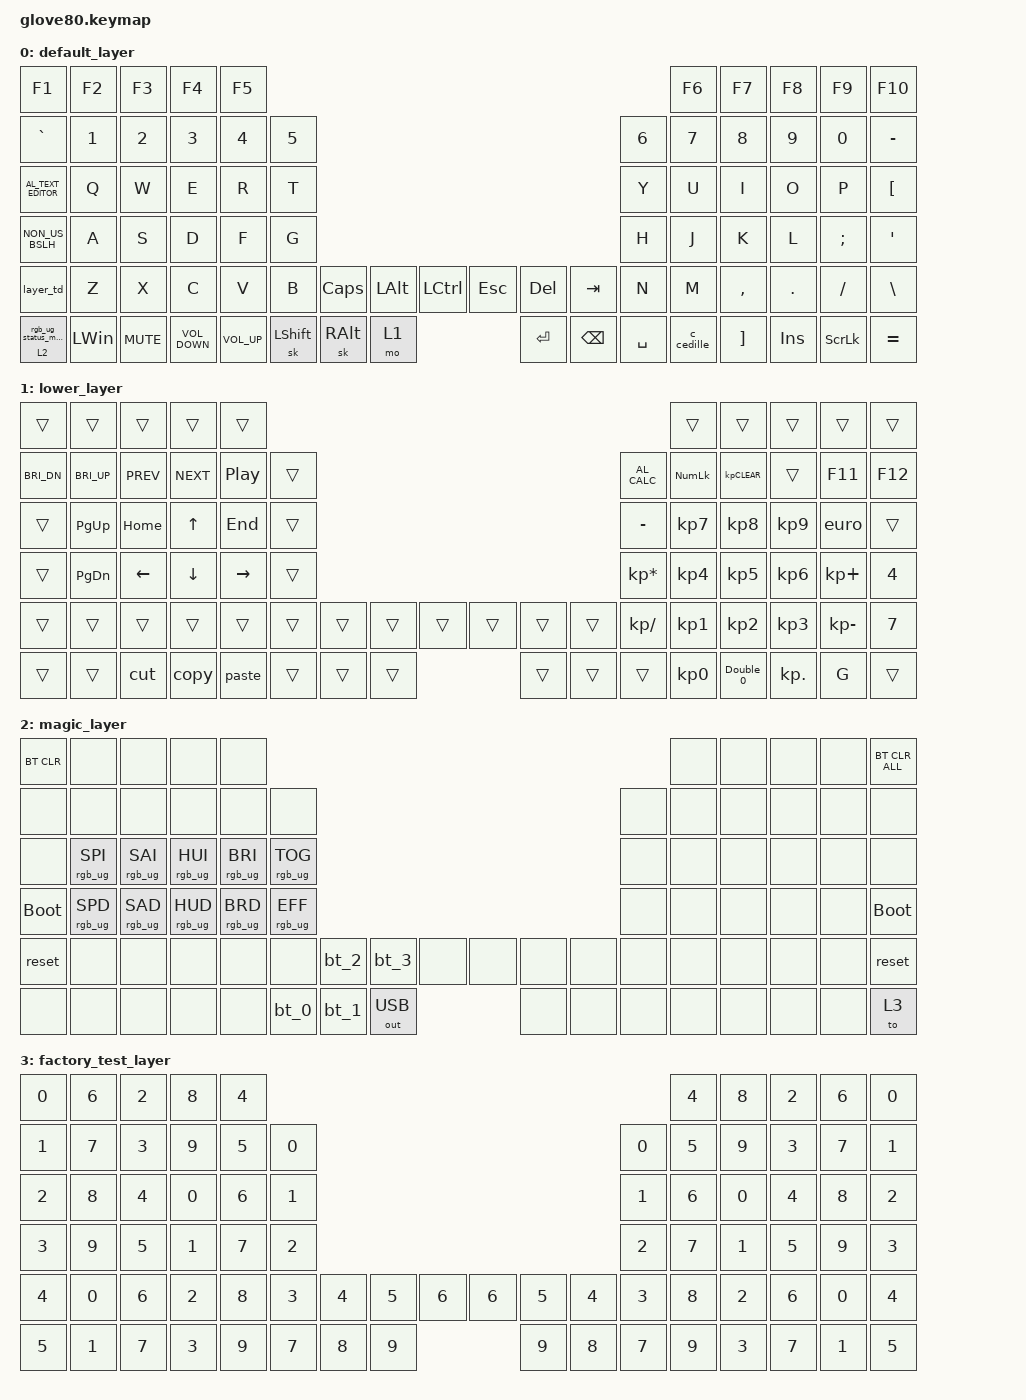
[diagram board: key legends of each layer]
/*
 * Copyright (c) 2020 The ZMK Contributors
 *
 * SPDX-License-Identifier: MIT
 */

#include <behaviors.dtsi>
#include <dt-bindings/zmk/keys.h>
#include <dt-bindings/zmk/bt.h>
#include <dt-bindings/zmk/rgb.h>
#include <dt-bindings/zmk/outputs.h>

#define HYPER LC(LS(LG(LALT)))// layers
#define DEFAULT 0
#define LOWER 1
#define MAGIC 2
#define FACTORY_TEST 3

/ {
    behaviors {
        // For the "layer" key, it'd nice to be able to use it as either a shift or a toggle.
        // Configure it as a tap dance, so the first tap (or hold) is a &mo and the second tap is a &to

        layer_td: tap_dance_0 {
            compatible = "zmk,behavior-tap-dance";
            label = "LAYER_TAP_DANCE";
            #binding-cells = <0>;
            tapping-term-ms = <200>;
            bindings =
                <&mo LOWER>,
                <&to LOWER>;
        };
    };

    macros {
        rgb_ug_status_macro: rgb_ug_status_macro_0 {
            label = "RGB_UG_STATUS";
            compatible = "zmk,behavior-macro";
            #binding-cells = <0>;
            bindings = <&rgb_ug RGB_STATUS>;
        };
        c_cedille: c_cedille {
            compatible = "zmk,behavior-macro";
            label = "new_macro";
            #binding-cells = <0>;
            bindings = <&kp RIGHT_ALT &kp NON_US_BSLH>;
        };
        Double_0: Double_0 {
            compatible = "zmk,behavior-macro";
            label = "new_macro";
            #binding-cells = <0>;
            bindings = <&kp KP_NUMBER_0 &kp KP_NUMBER_0>;
        };
        euro: euro {
            compatible = "zmk,behavior-macro";
            label = "new_macro";
            #binding-cells = <0>;
            bindings =
                <&kp LEFT_SHIFT &kp SPACE>,
                <&macro_release>,
                <&kp GRAVE>;
        };
        cut: cut {
            compatible = "zmk,behavior-macro";
            label = "new_macro";
            #binding-cells = <0>;
            bindings = <&kp LCTRL &kp LEFT_BRACKET>;
        };
        copy: copy {
            compatible = "zmk,behavior-macro";
            label = "new_macro";
            #binding-cells = <0>;
            bindings = <&kp LCTRL &kp M>;
        };
        paste: paste {
            compatible = "zmk,behavior-macro";
            label = "new_macro";
            #binding-cells = <0>;
            bindings = <&kp LCTRL &kp SLASH>;
        };
    };

    macros {
        bt_0: bt_profile_macro_0 {
            label = "BT_0";
            compatible = "zmk,behavior-macro";
            #binding-cells = <0>;
            bindings =
                <&out OUT_BLE>,
                <&bt BT_SEL 0>;
        };
    };

    macros {
        bt_1: bt_profile_macro_1 {
            label = "BT_1";
            compatible = "zmk,behavior-macro";
            #binding-cells = <0>;
            bindings =
                <&out OUT_BLE>,
                <&bt BT_SEL 1>;
        };
    };

    macros {
        bt_2: bt_profile_macro_2 {
            label = "BT_2";
            compatible = "zmk,behavior-macro";
            #binding-cells = <0>;
            bindings =
                <&out OUT_BLE>,
                <&bt BT_SEL 2>;
        };
    };

    macros {
        bt_3: bt_profile_macro_3 {
            label = "BT_3";
            compatible = "zmk,behavior-macro";
            #binding-cells = <0>;
            bindings =
                <&out OUT_BLE>,
                <&bt BT_SEL 3>;
        };
    };

    magic: magic_hold_tap {
        compatible = "zmk,behavior-hold-tap";
        label = "MAGIC_HOLD_TAP";
        #binding-cells = <2>;
        flavor = "tap-preferred";
        tapping-term-ms = <200>;
        bindings =
            <&mo>,
            <&rgb_ug_status_macro>;
    };

    keymap {
        compatible = "zmk,keymap";

        default_layer {
            // ---------------------------------------------------------------------------------------------------------------------------------
            // |  F1   |  F2 |  F3 |  F4  |  F5  |                                                               |  F6   |  F7   |  F8  |   F9  |  F10 |
            // |  =    |  1  |  2  |  3   |  4   |  5   |                                                 |  6   |   7   |   8   |  9   |   0   |   -  |
            // |  TAB  |  Q  |  W  |  E   |  R   |  T   |                                                 |  Y   |   U   |   I   |  O   |   P   |   \  |
            // |  ESC  |  A  |  S  |  D   |  F   |  G   |                                                 |  H   |   J   |   K   |  L   |   ;   |   '  |
            // |   `   |  Z  |  X  |  C   |  V   |  B   | LSHFT | LCTRL | LOWER | | LGUI  | RCTRL | RSHFT |  N   |   M   |   ,   |  .   |   /   | PGUP |
            // | MAGIC | HOME| END | LEFT | RIGHT|      | BSPC  | DEL   | LALT  | | RALT  | RET   | SPACE |      |  UP   | DOWN  |  [   |   ]   | PGDN |

            bindings = <
               &kp F1        &kp F2      &kp F3             &kp F4           &kp F5                                                                                                      &kp F6             &kp F7   &kp F8          &kp F9    &kp F10
            &kp GRAVE        &kp N1      &kp N2             &kp N3           &kp N4  &kp N5                                                                                  &kp N6      &kp N7             &kp N8   &kp N9          &kp N0  &kp MINUS
 &kp C_AL_TEXT_EDITOR         &kp Q       &kp W              &kp E            &kp R   &kp T                                                                                   &kp Y       &kp U              &kp I    &kp O           &kp P   &kp LBKT
      &kp NON_US_BSLH         &kp A       &kp S              &kp D            &kp F   &kp G                                                                                   &kp H       &kp J              &kp K    &kp L        &kp SEMI    &kp SQT
            &layer_td         &kp Z       &kp X              &kp C            &kp V   &kp B        &kp CAPS   &kp LEFT_ALT  &kp LCTRL  &kp ESCAPE        &kp DEL    &kp TAB   &kp N       &kp M          &kp COMMA  &kp DOT        &kp FSLH   &kp BSLH
           &magic 2 0  &kp LEFT_WIN  &kp C_MUTE  &kp C_VOLUME_DOWN  &kp C_VOLUME_UP          &sk LEFT_SHIFT  &sk RIGHT_ALT      &mo 1   &kp ENTER  &kp BACKSPACE  &kp SPACE          &c_cedille  &kp RIGHT_BRACKET  &kp INS  &kp SCROLLLOCK  &kp EQUAL
            >;
        };

        lower_layer {
            bindings = <
       &trans        &trans      &trans      &trans     &trans                                                                                &trans        &trans      &trans        &trans        &trans
 &kp C_BRI_DN  &kp C_BRI_UP  &kp C_PREV  &kp C_NEXT   &kp C_PP  &trans                                                    &kp C_AL_CALC  &kp KP_NLCK  &kp KP_CLEAR      &trans       &kp F11       &kp F12
       &trans     &kp PG_UP    &kp HOME      &kp UP    &kp END  &trans                                                        &kp MINUS    &kp KP_N7     &kp KP_N8   &kp KP_N9         &euro        &trans
       &trans     &kp PG_DN    &kp LEFT    &kp DOWN  &kp RIGHT  &trans                                                  &kp KP_MULTIPLY    &kp KP_N4     &kp KP_N5   &kp KP_N6   &kp KP_PLUS  &kp NUMBER_4
       &trans        &trans      &trans      &trans     &trans  &trans  &trans  &trans  &trans  &trans  &trans  &trans     &kp KP_SLASH    &kp KP_N1     &kp KP_N2   &kp KP_N3  &kp KP_MINUS  &kp NUMBER_7
       &trans        &trans        &cut       &copy     &paste          &trans  &trans  &trans  &trans  &trans  &trans                     &kp KP_N0     &Double_0  &kp KP_DOT         &kp G        &trans
            >;
        };

        magic_layer {
            bindings = <
  &bt BT_CLR            &none            &none            &none            &none                                                                                  &none   &none   &none   &none  &bt BT_CLR_ALL
       &none            &none            &none            &none            &none            &none                                                         &none   &none   &none   &none   &none           &none
       &none  &rgb_ug RGB_SPI  &rgb_ug RGB_SAI  &rgb_ug RGB_HUI  &rgb_ug RGB_BRI  &rgb_ug RGB_TOG                                                         &none   &none   &none   &none   &none           &none
 &bootloader  &rgb_ug RGB_SPD  &rgb_ug RGB_SAD  &rgb_ug RGB_HUD  &rgb_ug RGB_BRD  &rgb_ug RGB_EFF                                                         &none   &none   &none   &none   &none     &bootloader
      &reset            &none            &none            &none            &none            &none   &bt_2   &bt_3         &none   &none   &none   &none   &none   &none   &none   &none   &none          &reset
       &none            &none            &none            &none            &none                    &bt_0   &bt_1  &out OUT_USB   &none   &none   &none           &none   &none   &none   &none           &to 3
            >;
        };

        factory_test_layer {
            bindings = <
 &kp N0  &kp N6  &kp N2  &kp N8  &kp N4                                                                  &kp N4  &kp N8  &kp N2  &kp N6  &kp N0
 &kp N1  &kp N7  &kp N3  &kp N9  &kp N5  &kp N0                                                  &kp N0  &kp N5  &kp N9  &kp N3  &kp N7  &kp N1
 &kp N2  &kp N8  &kp N4  &kp N0  &kp N6  &kp N1                                                  &kp N1  &kp N6  &kp N0  &kp N4  &kp N8  &kp N2
 &kp N3  &kp N9  &kp N5  &kp N1  &kp N7  &kp N2                                                  &kp N2  &kp N7  &kp N1  &kp N5  &kp N9  &kp N3
 &kp N4  &kp N0  &kp N6  &kp N2  &kp N8  &kp N3  &kp N4  &kp N5  &kp N6  &kp N6  &kp N5  &kp N4  &kp N3  &kp N8  &kp N2  &kp N6  &kp N0  &kp N4
 &kp N5  &kp N1  &kp N7  &kp N3  &kp N9          &kp N7  &kp N8  &kp N9  &kp N9  &kp N8  &kp N7          &kp N9  &kp N3  &kp N7  &kp N1  &kp N5
            >;
        };
    };
};
